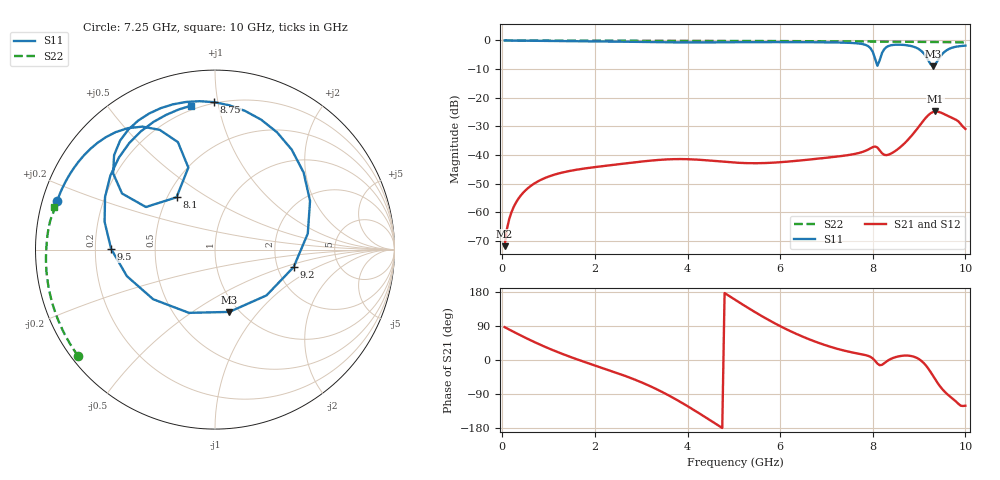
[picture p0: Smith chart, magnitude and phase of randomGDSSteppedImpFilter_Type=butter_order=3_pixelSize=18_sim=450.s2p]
! freq	dB(S11)	phase(S11)	dB(S12)	phase(S12)
!  dB(S21)	phase(S21)	dB(S22)	phase(S22)
!S-par simulation data
#  GHz  S  DB  R 50
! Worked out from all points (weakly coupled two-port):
!   200 points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, 50 MHz to 10 GHz, reference 50 ohm
!   highest |S21| = -24.82 dB at 9.35 GHz (marker M1); lowest = -71.9 dB at 50 MHz (marker M2)
!   lowest |S11| = -9.0 dB at 9.3 GHz (marker M3), VSWR 2.11, Z = 45.1 - j35.9 ohm
!   |S11| at or under -10 dB: nowhere
!   |S22| runs from -0.7 to 0.0 dB; largest |S21 - S12| = 0
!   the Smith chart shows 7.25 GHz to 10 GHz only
!   S11 on the Smith chart (normalised r, x): 7.25 GHz: 0.04, +0.15; 8.1 GHz: 0.56, +0.37; 8.75 GHz: 0.19, +0.97; 9.2 GHz: 2.46, -0.60; 9.5 GHz: 0.27, +0.00; 10 GHz: 0.18, +0.83
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0.05  -0.01 -5.4  -71.88 86.8  -71.88 86.8  -0.00 -1.1
0.3  -0.04 -31.7  -56.51 70.8  -56.51 70.8  -0.01 -6.6
0.85  -0.12 -85.1  -48.57 38.7  -48.57 38.7  -0.02 -18.5
1.75  -0.25 -157.5  -44.80 -4.1  -44.80 -4.1  -0.05 -37.7
2.5  -0.39 146.7  -43.27 -35.3  -43.27 -35.3  -0.07 -53.2
3.4  -0.62 68.8  -41.72 -81.2  -41.72 -81.2  -0.09 -71.2
4.15  -0.70 -5.6  -41.59 -132.9  -41.59 -132.9  -0.12 -85.7
5.05  -0.62 -81.7  -42.71 157.1  -42.71 157.1  -0.16 -102.5
5.9  -0.58 -133.0  -42.66 95.8  -42.66 95.8  -0.20 -117.9
6.7  -0.62 -171.4  -41.50 51.1  -41.50 51.1  -0.26 -132.2
7.25  -0.72 162.9  -40.53 29.0  -40.53 29.0  -0.30 -142.1
7.9  -1.99 120.6  -38.13 10.9  -38.13 10.9  -0.36 -153.9
8.1  -8.83 126.4  -37.39 -9.5  -37.39 -9.5  -0.38 -157.6
8.35  -1.88 131.1  -39.85 0.3  -39.85 0.3  -0.41 -162.3
8.75  -1.71 90.4  -34.89 11.6  -34.89 11.6  -0.46 -169.9
9  -3.07 52.5  -30.00 2.1  -30.00 2.1  -0.49 -174.8
9.2  -6.96 -12.5  -26.09 -22.8  -26.09 -22.8  -0.52 -178.7
9.3  -8.97 -77.1  -25.00 -41.6  -25.00 -41.6  -0.54 179.3
9.35  -8.38 -112.4  -24.82 -51.3  -24.82 -51.3  -0.55 178.3
9.5  -4.75 179.6  -25.41 -76.6  -25.41 -76.6  -0.57 175.3
9.75  -2.36 128.8  -27.36 -104.6  -27.36 -104.6  -0.61 170.0
10  -1.80 99.5  -30.91 -120.6  -30.91 -120.6  -0.66 165.1
